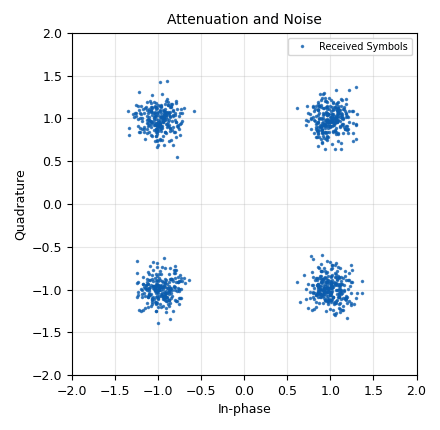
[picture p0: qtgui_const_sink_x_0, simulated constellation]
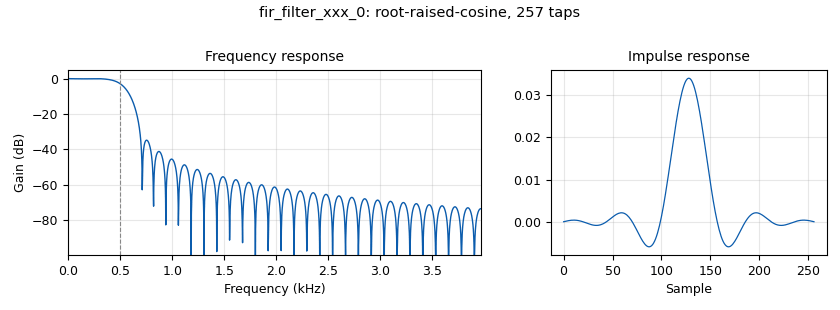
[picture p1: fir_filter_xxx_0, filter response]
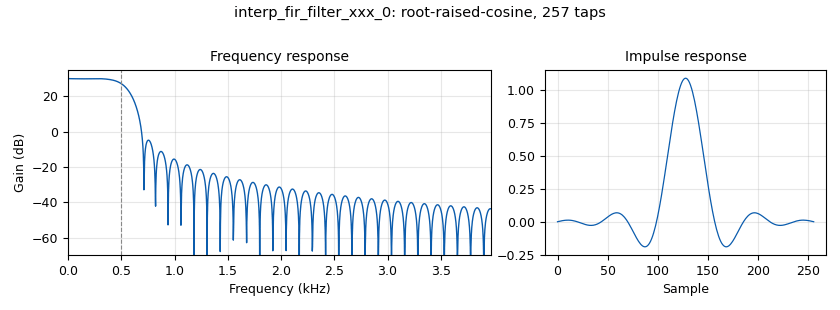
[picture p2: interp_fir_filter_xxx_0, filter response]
options:
  parameters:
    author: Dhrubjun
    generate_options: qt_gui
    id: exp3
    output_language: python
    title: Attenuation and Noise
  states: {}

blocks:
- name: alpha
  id: variable
  parameters:
    value: '0.35'
  states: {}
- name: channel_gain
  id: variable_qtgui_range
  parameters:
    label: Channel Gain
    start: '0'
    step: '0.1'
    stop: '1'
    value: '1'
  states: {}
- name: noise_amp
  id: variable_qtgui_range
  parameters:
    label: Noise Amplitude
    start: '0'
    step: '0.01'
    stop: '0.5'
    value: '0'
  states: {}
- name: ntaps
  id: variable
  parameters:
    value: span * sps + 1
  states: {}
- name: samp_rate
  id: variable
  parameters:
    value: '32000'
  states: {}
- name: span
  id: variable
  parameters:
    value: '8'
  states: {}
- name: sps
  id: variable
  parameters:
    value: int(samp_rate / symbol_rate)
  states: {}
- name: symbol_rate
  id: variable
  parameters:
    value: '1000'
  states: {}
- name: analog_noise_source_x_0
  id: analog_noise_source_x
  parameters:
    amp: '1'
    noise_type: analog.GR_GAUSSIAN
    seed: '0'
    type: complex
  states: {}
- name: analog_random_source_x_0
  id: analog_random_source_x
  parameters:
    max: '2'
    min: '0'
    num_samps: '1000'
    repeat: 'True'
    type: byte
  states: {}
- name: analog_random_source_x_0_0
  id: analog_random_source_x
  parameters:
    max: '2'
    min: '0'
    num_samps: '1000'
    repeat: 'True'
    type: byte
  states: {}
- name: blocks_add_xx_0
  id: blocks_add_xx
  parameters:
    type: complex
  states: {}
- name: blocks_float_to_complex_0
  id: blocks_float_to_complex
  parameters: {}
  states: {}
- name: blocks_keep_one_in_n_0
  id: blocks_keep_one_in_n
  parameters:
    n: sps
    type: complex
  states: {}
- name: blocks_multiply_const_vxx_0
  id: blocks_multiply_const_vxx
  parameters:
    const: channel_gain
    type: complex
  states: {}
- name: blocks_throttle2_0
  id: blocks_throttle2
  parameters:
    samples_per_second: samp_rate
    type: complex
  states: {}
- name: digital_chunks_to_symbols_xx_0
  id: digital_chunks_to_symbols_xx
  parameters:
    dimension: '1'
    in_type: byte
    out_type: float
    symbol_table: '[-1,1]'
  states: {}
- name: digital_chunks_to_symbols_xx_0_0
  id: digital_chunks_to_symbols_xx
  parameters:
    dimension: '1'
    in_type: byte
    out_type: float
    symbol_table: '[-1,1]'
  states: {}
- name: fir_filter_xxx_0
  id: fir_filter_xxx
  parameters:
    decim: '1'
    taps: firdes.root_raised_cosine(1, samp_rate, symbol_rate, alpha, ntaps)
    type: ccf
  states: {}
- name: interp_fir_filter_xxx_0
  id: interp_fir_filter_xxx
  parameters:
    interp: sps
    taps: firdes.root_raised_cosine(sps, samp_rate, symbol_rate, alpha, ntaps)
    type: ccf
  states: {}
- name: qtgui_const_sink_x_0
  id: qtgui_const_sink_x
  parameters:
    grid: 'True'
    label1: Received Symbols
    name: Attenuation and Noise
    size: '1024'
    type: complex
  states: {}

connections:
- [analog_noise_source_x_0, '0', blocks_add_xx_0, '1']
- [analog_random_source_x_0, '0', digital_chunks_to_symbols_xx_0, '0']
- [analog_random_source_x_0_0, '0', digital_chunks_to_symbols_xx_0_0, '0']
- [blocks_add_xx_0, '0', blocks_throttle2_0, '0']
- [blocks_float_to_complex_0, '0', interp_fir_filter_xxx_0, '0']
- [blocks_keep_one_in_n_0, '0', qtgui_const_sink_x_0, '0']
- [blocks_multiply_const_vxx_0, '0', blocks_add_xx_0, '0']
- [blocks_throttle2_0, '0', fir_filter_xxx_0, '0']
- [digital_chunks_to_symbols_xx_0, '0', blocks_float_to_complex_0, '0']
- [digital_chunks_to_symbols_xx_0_0, '0', blocks_float_to_complex_0, '1']
- [fir_filter_xxx_0, '0', blocks_keep_one_in_n_0, '0']
- [interp_fir_filter_xxx_0, '0', blocks_multiply_const_vxx_0, '0']

metadata:
  file_format: 1
  grc_version: 3.10.12.0
